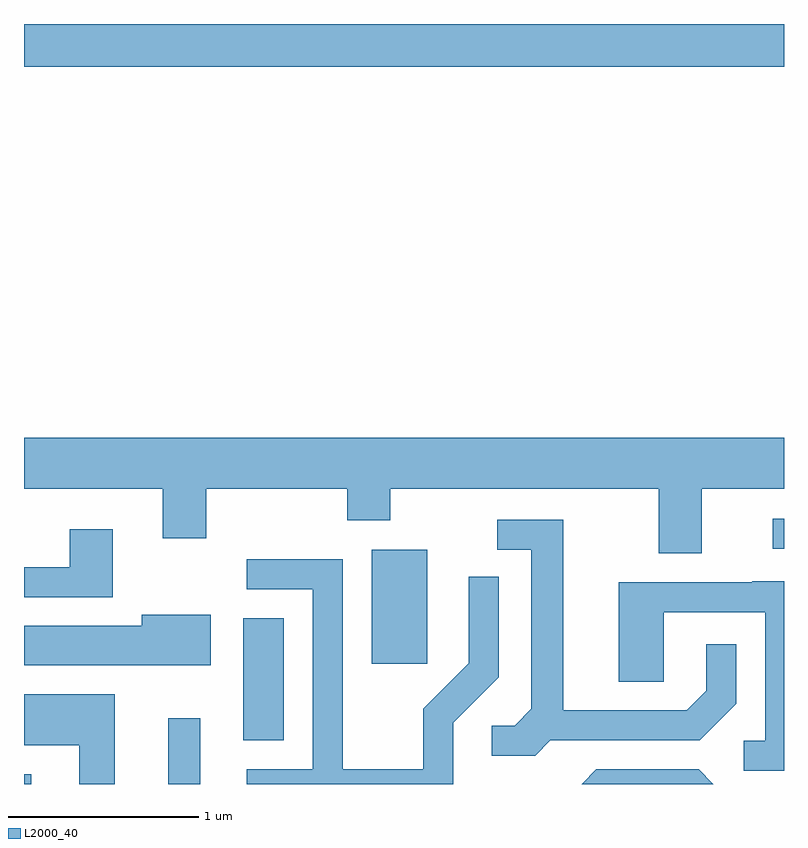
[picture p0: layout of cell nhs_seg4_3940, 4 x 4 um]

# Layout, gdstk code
import gdstk
lib = gdstk.Library(unit=1e-6, precision=1e-09)
def R(c, l, rs):  # rectangles x0, y0, x1, y1
    for r in rs: c.add(gdstk.rectangle(r[:2], r[2:], *l))
def P(c, l, *ps):  # polygons
    for p in ps: c.add(gdstk.Polygon(p, *l))
L2000_40 = (2000, 40)

nhs_seg4_3940 = lib.new_cell('nhs_seg4_3940')
R(nhs_seg4_3940, L2000_40, [(299.611,1381.982,299.649,1382.034), (300.371,1381.982,300.539,1382.328), (300.766,1382.211,300.979,1382.854), (301.441,1382.616,301.734,1383.214), (303.553,1383.221,303.611,1383.379), (299.611,1385.756,303.611,1385.982)])
P(nhs_seg4_3940, L2000_40, [(303.179,1383.536),(303.611,1383.536),(303.611,1383.804),(299.611,1383.804),(299.611,1383.536),(300.341,1383.536),(300.341,1383.276),(300.569,1383.276),(300.569,1383.536),(301.311,1383.536),(301.311,1383.371),(301.539,1383.371),(301.539,1383.536),(302.951,1383.536),(302.951,1383.196),(303.179,1383.196)],
  [(302.382,1382.211),(303.167,1382.211),(303.359,1382.404),(303.359,1382.718),(303.201,1382.718),(303.201,1382.472),(303.099,1382.369),(302.449,1382.369),(302.449,1383.374),(302.103,1383.374),(302.103,1383.216),(302.281,1383.216),(302.281,1382.377),(302.194,1382.289),(302.073,1382.289),(302.073,1382.131),(302.302,1382.131)],
  [(300.079,1383.324),(299.851,1383.324),(299.851,1383.124),(299.611,1383.124),(299.611,1382.966),(300.079,1382.966)],
  [(301.869,1382.304),(302.109,1382.544),(302.109,1383.073),(301.951,1383.073),(301.951,1382.617),(301.711,1382.377),(301.711,1382.059),(301.289,1382.059),(301.289,1383.164),(300.783,1383.164),(300.783,1383.006),(301.131,1383.006),(301.131,1382.059),(300.783,1382.059),(300.783,1381.982),(301.869,1381.982)],
  [(303.611,1383.049),(303.445,1383.049),(303.445,1383.044),(302.741,1383.044),(302.741,1382.521),(302.979,1382.521),(302.979,1382.886),(303.511,1382.886),(303.511,1382.209),(303.398,1382.209),(303.398,1382.051),(303.611,1382.051)],
  [(300.594,1382.874),(300.231,1382.874),(300.231,1382.814),(299.611,1382.814),(299.611,1382.606),(300.594,1382.606)],
  [(300.089,1382.454),(299.611,1382.454),(299.611,1382.186),(299.901,1382.186),(299.901,1381.982),(300.089,1381.982)],
  [(303.162,1382.059),(302.624,1382.059),(302.547,1381.982),(303.239,1381.982)])

lib.write_gds('nhs_seg4_3940.gds')
